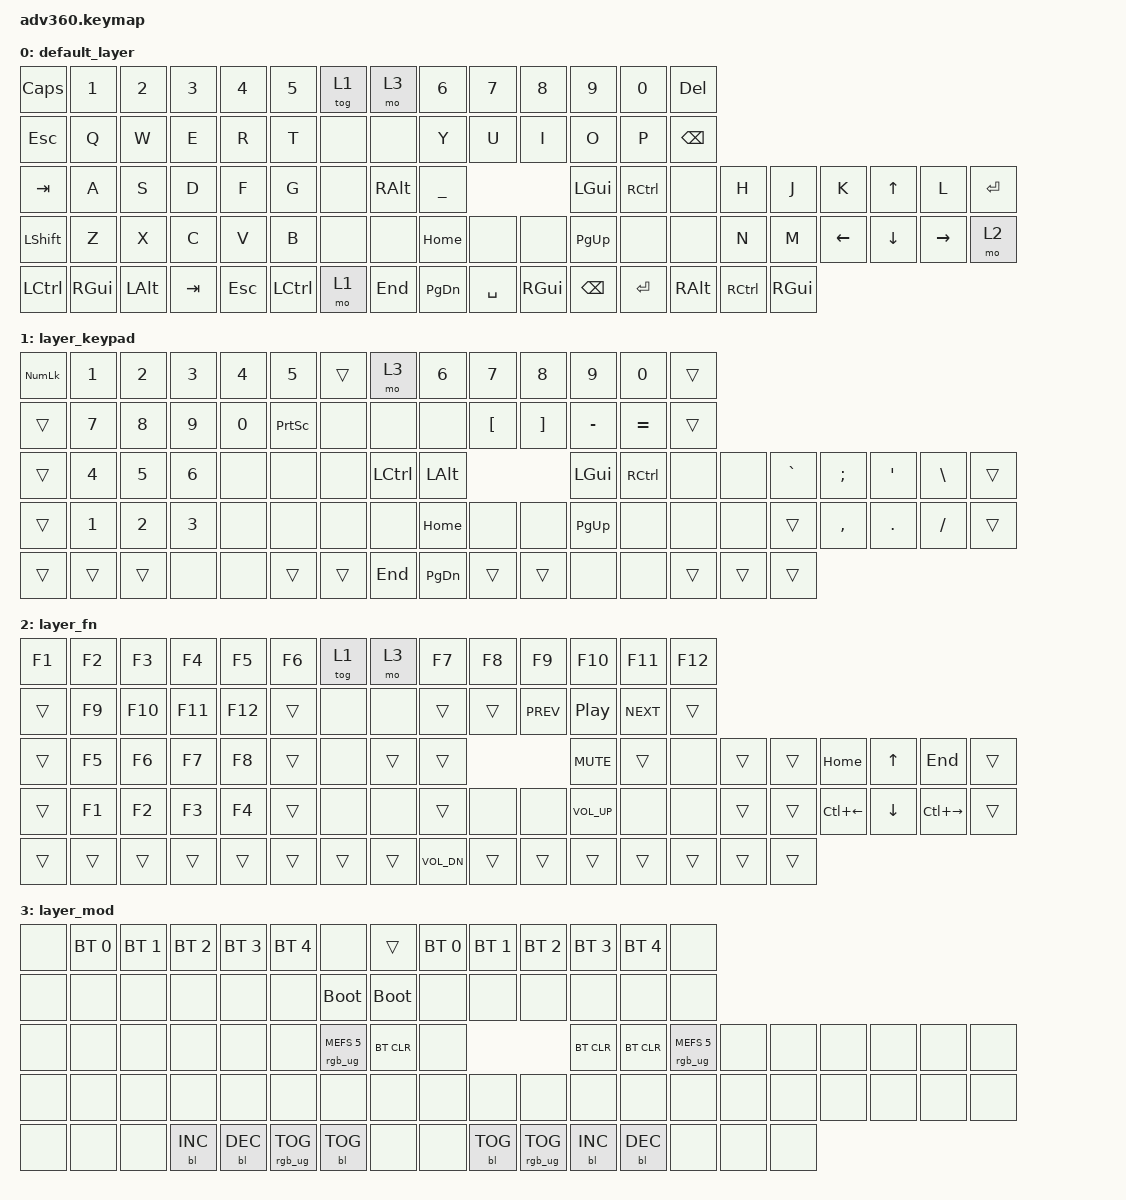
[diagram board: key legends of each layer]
/*
 * Copyright (c) 2020 The ZMK Contributors
 *
 * SPDX-License-Identifier: MIT
 */
/* THIS FILE WAS GENERATED!
 *
 * This file was generated automatically. You may or may not want to
 * edit it directly.
 */

#include <behaviors.dtsi>
#include <dt-bindings/zmk/backlight.h>
#include <dt-bindings/zmk/bt.h>
#include <dt-bindings/zmk/keys.h>
#include <dt-bindings/zmk/rgb.h>

/ {
    behaviors {
        #include "macros.dtsi"
    #include "version.dtsi"

        hm: homerow_mods {
            compatible = "zmk,behavior-hold-tap";
            label = "HOMEROW_MODS";
            #binding-cells = <2>;
            tapping-term-ms = <200>;
            quick_tap_ms = <175>;
            flavor = "tap-preferred";
            bindings = <&kp>, <&kp>;
        };
    };

    keymap {
        compatible = "zmk,keymap";

        default_layer {
            bindings = <
&kp CAPS   &kp N1         &kp N2    &kp N3   &kp N4   &kp N5     &tog 1  &mo 3     &kp N6          &kp N7     &kp N8    &kp N9         &kp N0     &kp DELETE
&kp ESC    &kp Q          &kp W     &kp E    &kp R    &kp T      &none   &none     &kp Y           &kp U      &kp I     &kp O          &kp P      &kp BACKSPACE
&kp TAB    &kp A          &kp S     &kp D    &kp F    &kp G      &none   &kp RALT  &kp UNDERSCORE                       &kp LGUI       &kp RCTRL  &none          &kp H      &kp J     &kp K     &kp UP    &kp L      &kp ENTER
&kp LSHFT  &kp Z          &kp X     &kp C    &kp V    &kp B      &none   &none     &kp HOME        &none      &none     &kp PG_UP      &none      &none          &kp N      &kp M     &kp LEFT  &kp DOWN  &kp RIGHT  &mo 2
&kp LCTRL  &kp RIGHT_GUI  &kp LALT  &kp TAB  &kp ESC  &kp LCTRL  &mo 1   &kp END   &kp PG_DN       &kp SPACE  &kp RGUI  &kp BACKSPACE  &kp ENTER  &kp RALT       &kp RCTRL  &kp RGUI
            >;
        };

        layer_keypad {
            bindings = <
&kp KP_NUMLOCK  &kp N1  &kp N2  &kp N3  &kp N4  &kp N5           &trans  &mo 3      &kp N6     &kp N7    &kp N8    &kp N9     &kp N0     &trans
&trans          &kp N7  &kp N8  &kp N9  &kp N0  &kp PRINTSCREEN  &none   &none      &none      &kp LBKT  &kp RBKT  &kp MINUS  &kp EQUAL  &trans
&trans          &kp N4  &kp N5  &kp N6  &none   &none            &none   &kp LCTRL  &kp LALT                       &kp LGUI   &kp RCTRL  &none   &none   &kp GRAVE  &kp SEMI   &kp SQT  &kp BACKSLASH  &trans
&trans          &kp N1  &kp N2  &kp N3  &none   &none            &none   &none      &kp HOME   &none     &none     &kp PG_UP  &none      &none   &none   &trans     &kp COMMA  &kp DOT  &kp SLASH      &trans
&trans          &trans  &trans  &none   &none   &trans           &trans  &kp END    &kp PG_DN  &trans    &trans    &none      &none      &trans  &trans  &trans
            >;
        };

        layer_fn {
            bindings = <
&kp F1  &kp F2  &kp F3   &kp F4   &kp F5   &kp F6  &tog 1  &mo 3   &kp F7        &kp F8  &kp F9      &kp F10           &kp F11     &kp F12
&trans  &kp F9  &kp F10  &kp F11  &kp F12  &trans  &none   &none   &trans        &trans  &kp C_PREV  &kp C_PLAY_PAUSE  &kp C_NEXT  &trans
&trans  &kp F5  &kp F6   &kp F7   &kp F8   &trans  &none   &trans  &trans                            &kp C_MUTE        &trans      &none    &trans  &trans  &kp HOME      &kp UP    &kp END        &trans
&trans  &kp F1  &kp F2   &kp F3   &kp F4   &trans  &none   &none   &trans        &none   &none       &kp C_VOL_UP      &none       &none    &trans  &trans  &kp LC(LEFT)  &kp DOWN  &kp LC(RIGHT)  &trans
&trans  &trans  &trans   &trans   &trans   &trans  &trans  &trans  &kp C_VOL_DN  &trans  &trans      &trans            &trans      &trans   &trans  &trans
            >;
        };

        layer_mod {
            bindings = <
&none  &bt BT_SEL 0  &bt BT_SEL 1  &bt BT_SEL 2  &bt BT_SEL 3  &bt BT_SEL 4     &none                   &trans       &bt BT_SEL 0  &bt BT_SEL 1  &bt BT_SEL 2     &bt BT_SEL 3  &bt BT_SEL 4  &none
&none  &none         &none         &none         &none         &none            &bootloader             &bootloader  &none         &none         &none            &none         &none         &none
&none  &none         &none         &none         &none         &none            &rgb_ug RGB_MEFS_CMD 5  &bt BT_CLR   &none                                        &bt BT_CLR    &bt BT_CLR    &rgb_ug RGB_MEFS_CMD 5  &none  &none  &none  &none  &none  &none
&none  &none         &none         &none         &none         &none            &none                   &none        &none         &none         &none            &none         &none         &none                   &none  &none  &none  &none  &none  &none
&none  &none         &none         &bl BL_INC    &bl BL_DEC    &rgb_ug RGB_TOG  &bl BL_TOG              &none        &none         &bl BL_TOG    &rgb_ug RGB_TOG  &bl BL_INC    &bl BL_DEC    &none                   &none  &none
            >;
        };
    };
};
